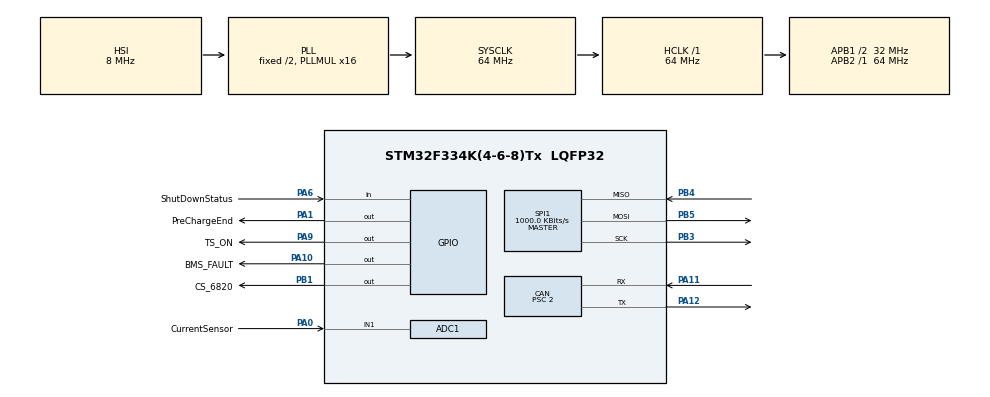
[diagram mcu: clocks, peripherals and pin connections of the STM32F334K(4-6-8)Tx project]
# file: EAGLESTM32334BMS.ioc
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ADC1.Channel-0\#ChannelRegularConversion=ADC_CHANNEL_1
ADC1.ClockPrescaler=ADC_CLOCK_SYNC_PCLK_DIV4
ADC1.ContinuousConvMode=ENABLE
ADC1.DMAContinuousRequests=ENABLE
ADC1.EnableInjectedConversion=DISABLE
ADC1.NbrOfConversion=1
ADC1.NbrOfConversionFlag=1
ADC1.Offset-0\#ChannelRegularConversion=0
ADC1.OffsetNumber-0\#ChannelRegularConversion=ADC_OFFSET_NONE
ADC1.Rank-0\#ChannelRegularConversion=1
ADC1.SamplingTime-0\#ChannelRegularConversion=ADC_SAMPLETIME_601CYCLES_5
ADC1.SubFamily=STM32F334x8
ADC1.master=1
CAN.AWUM=DISABLE
CAN.BS1=CAN_BS1_13TQ
CAN.BS2=CAN_BS2_2TQ
CAN.CalculateBaudRate=1000000
CAN.CalculateTimeQuantum=62.5
CAN.Prescaler=2
CAN.RFLM=DISABLE
CAN.SJW=CAN_SJW_1TQ
CAN.TXFP=DISABLE
Dma.ADC1.0.Direction=DMA_PERIPH_TO_MEMORY
Dma.ADC1.0.Instance=DMA1_Channel1
Dma.ADC1.0.MemDataAlignment=DMA_MDATAALIGN_HALFWORD
Dma.ADC1.0.MemInc=DMA_MINC_ENABLE
Dma.ADC1.0.Mode=DMA_CIRCULAR
Dma.ADC1.0.PeriphDataAlignment=DMA_PDATAALIGN_WORD
Dma.ADC1.0.PeriphInc=DMA_PINC_DISABLE
Dma.ADC1.0.Priority=DMA_PRIORITY_HIGH
Dma.Request0=ADC1
Mcu.Family=STM32F3
Mcu.Name=STM32F334K(4-6-8)Tx
Mcu.Package=LQFP32
NVIC.CAN_RX0_IRQn=true\:0\:0\:false\:false\:true\:true\:true
NVIC.CAN_RX1_IRQn=true\:0\:0\:false\:false\:true\:true\:true
NVIC.CAN_SCE_IRQn=true\:0\:0\:false\:false\:true\:true\:true
NVIC.DMA1_Channel1_IRQn=true\:0\:0\:false\:false\:true\:false\:true
NVIC.PriorityGroup=NVIC_PRIORITYGROUP_4
PA0.GPIO_Label=CurrentSensor
PA0.Mode=IN1-Single-Ended
PA0.Signal=ADC1_IN1
PA1.GPIO_Label=PreChargeEnd
PA1.Signal=GPIO_Output
PA10.GPIO_Label=BMS_FAULT
PA10.Signal=GPIO_Output
PA11.GPIO_PuPd=GPIO_PULLUP
PA11.Mode=CAN_Activate
PA11.Signal=CAN_RX
PA12.GPIO_PuPd=GPIO_PULLUP
PA12.Mode=CAN_Activate
PA12.Signal=CAN_TX
PA13.Mode=Serial_Wire
PA13.Signal=SYS_JTMS-SWDIO
PA14.Mode=Serial_Wire
PA14.Signal=SYS_JTCK-SWCLK
PA6.GPIO_Label=ShutDownStatus
PA6.GPIO_PuPd=GPIO_PULLUP
PA6.Signal=GPIO_Input
PA9.GPIO_Label=TS_ON
PA9.Signal=GPIO_Output
PB1.GPIO_Label=CS_6820
PB1.PinState=GPIO_PIN_SET
PB1.Signal=GPIO_Output
PB3.Mode=Full_Duplex_Master
PB3.Signal=SPI1_SCK
PB4.Mode=Full_Duplex_Master
PB4.Signal=SPI1_MISO
PB5.Mode=Full_Duplex_Master
PB5.Signal=SPI1_MOSI
ProjectManager.HeapSize=0x200
ProjectManager.StackSize=0x400
ProjectManager.TargetToolchain=Makefile
RCC.AHBFreq_Value=64000000
RCC.APB1CLKDivider=RCC_HCLK_DIV2
RCC.APB1Freq_Value=32000000
RCC.APB1TimFreq_Value=64000000
RCC.APB2Freq_Value=64000000
RCC.APB2TimFreq_Value=64000000
RCC.CortexFreq_Value=64000000
RCC.HCLKFreq_Value=64000000
RCC.HSE_VALUE=8000000
RCC.HSI_VALUE=8000000
RCC.PLLMUL=RCC_PLL_MUL16
RCC.SYSCLKFreq_VALUE=64000000
RCC.SYSCLKSourceVirtual=RCC_SYSCLKSOURCE_PLLCLK
SPI1.BaudRatePrescaler=SPI_BAUDRATEPRESCALER_64
SPI1.CalculateBaudRate=1000.0 KBits/s
SPI1.DataSize=SPI_DATASIZE_8BIT
SPI1.Direction=SPI_DIRECTION_2LINES
SPI1.Mode=SPI_MODE_MASTER
SPI1.VirtualType=VM_MASTER
TIM6.Prescaler=32000
TIM6.TIM_MasterOutputTrigger=TIM_TRGO_RESET
VP_TIM6_VS_ClockSourceINT.Mode=Enable_Timer
board=EAGLESTM32334BMS

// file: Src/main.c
/* USER CODE BEGIN Header */
/**
 * @file		main.c
 *
 * @author	Gregor
 * @author	Matteo Bonora [matteo.bonora@studenti.unitn.it]
 */
/* USER CODE END Header */
#include "main.h"

/* USER CODE BEGIN Includes */
#include "can.h"
#include "chimera_config.h"
#include "error.h"
/* USER CODE END Includes */

/* USER CODE BEGIN PD */
#define READ_INTERVAL_UNIT  20U
#define TEMPS_READ_INTERVAL 30U
#define CONV_TIME           6U
//#define VOLTS_READ_INTERVAL 1

/* USER CODE END PD */

ADC_HandleTypeDef hadc1;
DMA_HandleTypeDef hdma_adc1;

CAN_HandleTypeDef hcan;

SPI_HandleTypeDef hspi1;

TIM_HandleTypeDef htim6;

/* USER CODE BEGIN PV */
state_func_t *const state_table[BMS_NUM_STATES] = {do_state_init, do_state_idle,   do_state_precharge,
												   do_state_on,	  do_state_charge, do_state_halt};

transition_func_t *const transition_table[BMS_NUM_STATES][BMS_NUM_STATES] = {
	{NULL, to_idle, to_precharge, NULL, NULL, to_halt},	 // from init
	{NULL, NULL, to_precharge, NULL, NULL, to_halt},	 // from idle
	{NULL, to_idle, NULL, to_on, to_charge, to_halt},	 // from precharge
	{NULL, to_idle, NULL, NULL, NULL, to_halt},			 // from on
	{NULL, to_idle, NULL, NULL, NULL, to_halt},			 // from charge
	{NULL, NULL, NULL, NULL, NULL, to_halt}};			 // from halt

BMS_STATE_T state = BMS_INIT;
state_global_data_t data;

ADC_HandleTypeDef hadc1;
DMA_HandleTypeDef hdma_adc1;
CAN_HandleTypeDef hcan;
SPI_HandleTypeDef hspi1;
TIM_HandleTypeDef htim6;

uint32_t timer_precharge = 0;
uint32_t timer_reads = 100;
uint8_t timer_counter = 0, conv_started = 0;
/*
uint32_t timer_volts = 1000;
uint32_t timer_temps = 1000;
*/
/* USER CODE END PV */

void SystemClock_Config(void);
static void MX_GPIO_Init(void);
static void MX_DMA_Init(void);
static void MX_SPI1_Init(void);
static void MX_ADC1_Init(void);
static void MX_CAN_Init(void);
static void MX_TIM6_Init(void);

/* USER CODE BEGIN 0 */

BMS_STATE_T do_state_init(state_global_data_t *data) {
	error_init(&data->can_error);

	data->error = ERROR_OK;

	data->bms.pin_fault.gpio = BMS_FAULT_GPIO_Port;
	data->bms.pin_ts_on.gpio = TS_ON_GPIO_Port;
	data->bms.pin_chip_select.gpio = CS_6820_GPIO_Port;
	data->bms.pin_precharge_end.gpio = PreChargeEnd_GPIO_Port;

	data->bms.pin_fault.id = BMS_FAULT_Pin;
	data->bms.pin_ts_on.id = TS_ON_Pin;
	data->bms.pin_chip_select.id = CS_6820_Pin;
	data->bms.pin_precharge_end.id = PreChargeEnd_Pin;

	bms_write_pin(&(data->bms.pin_fault), GPIO_PIN_SET);
	bms_write_pin(&(data->bms.pin_ts_on), GPIO_PIN_RESET);
	bms_write_pin(&(data->bms.pin_chip_select), GPIO_PIN_SET);
	bms_write_pin(&(data->bms.pin_precharge_end), GPIO_PIN_RESET);

	pack_init(&hadc1, &(data->pack));

	HAL_Delay(1000);
	pack_update_current(&(data->pack.current), &(data->error));
	pack_zero_current(&(data->pack));

#if CHARGING > 0
	HAL_Delay(3000);
	data->bms.precharge_bypass = true;
	return BMS_PRECHARGE;
#endif
	return BMS_IDLE;
}

void to_idle(state_global_data_t *data) {
	bms_set_ts_off(&data->bms);
	can_send(&hcan, CAN_ID_BMS, CAN_MSG_TS_OFF, 8);
	HAL_CAN_ConfigFilter(&hcan, &filter_ecu);
}

BMS_STATE_T do_state_idle(state_global_data_t *data) {
	data->ts_off = false;
	if (data->ts_on) {
		return BMS_PRECHARGE;
	}
	return BMS_IDLE;
}

void to_precharge(state_global_data_t *data) {
	// Precharge

	pack_zero_current(&data->pack);

	// data->bms.precharge_bypass = true;
	bms_precharge_start(&data->bms);
	data->pack.bus_voltage = 0;
	timer_precharge = HAL_GetTick();
	HAL_CAN_ConfigFilter(&hcan, &filter_inv);
}

BMS_STATE_T do_state_precharge(state_global_data_t *data) {
	data->ts_on = false;
	if (data->ts_off) {
		data->ts_off = false;
		return BMS_IDLE;
	}
	switch (bms_precharge_check(&(data)->bms)) {
		case PRECHARGE_SUCCESS:
			// Used when bypassing precharge

			return BMS_CHARGE;
			break;

		case PRECHARGE_FAILURE:
			// Precharge timed out

			can_send_warning(&hcan, WARN_PRECHARGE_FAIL, 0);

			return BMS_IDLE;
			break;

		case PRECHARGE_WAITING:
			// If precharge is still running, send the bus voltage request

			if (data->pack.bus_voltage >= data->pack.total_voltage / 10000.0 * .70) {
				// bms_precharge_end(&data->bms);
				return BMS_ON;
			}

			if (HAL_GetTick() - timer_precharge >= 20) {
				timer_precharge = HAL_GetTick();

				// uint16_t bus_voltage = 0;
				// si8900_read_channel(&huart1, SI8900_AIN0, &bus_voltage);

				can_send(&hcan, CAN_ID_OUT_INVERTER_L, CAN_MSG_BUS_VOLTAGE, 8);
			}
			break;
	}

	return BMS_PRECHARGE;
}

void to_charge(state_global_data_t *data) {
	bms_precharge_end(&data->bms);
	can_send(&hcan, CAN_ID_BMS, CAN_MSG_TS_ON, 8);
	HAL_CAN_ConfigFilter(&hcan, &filter_ecu);
}

BMS_STATE_T do_state_charge(state_global_data_t *data) {
	data->ts_on = false;
	if (data->ts_off) {
		data->ts_off = false;
		return BMS_IDLE;
	}

	return BMS_CHARGE;
}

void to_on(state_global_data_t *data) {
	bms_precharge_end(&data->bms);
	can_send(&hcan, CAN_ID_BMS, CAN_MSG_TS_ON, 8);
	HAL_CAN_ConfigFilter(&hcan, &filter_ecu);
}

BMS_STATE_T do_state_on(state_global_data_t *data) {
	data->ts_on = false;
	if (data->ts_off) {
		data->ts_off = false;
		return BMS_IDLE;
	}

	return BMS_ON;
}

void to_halt(state_global_data_t *data) {
	bms_set_ts_off(&data->bms);
	bms_set_fault(&data->bms);

	can_send_error(&hcan, data->error, data->error_index, &data->pack);
	HAL_CAN_ConfigFilter(&hcan, &filter_ecu);
}

BMS_STATE_T do_state_halt(state_global_data_t *data) {
	data->ts_off = false;
	data->ts_on = false;
	if (data->error == ERROR_OK) {
		return BMS_IDLE;
	}
	return BMS_HALT;
}

BMS_STATE_T run_state(BMS_STATE_T state, state_global_data_t *data) {
	BMS_STATE_T new_state = state_table[state](data);

	if (data->error != ERROR_OK) {
		new_state = BMS_HALT;
	}

	transition_func_t *transition = transition_table[state][new_state];

	if (transition) {
		transition(data);
	}

	return new_state;
}

void check_timers(state_global_data_t *data) {
	// Read and send volts or temperatures (the last one every TEMPS_READ_INTERVAL times)

  if(!conv_started && (HAL_GetTick() - timer_reads >= READ_INTERVAL_UNIT - CONV_TIME)) { //start convertion 5ms before reading
    conv_started = 1;
    if(timer_counter == TEMPS_READ_INTERVAL-1) {
      pack_init_temperature_conversion(&hspi1);
    } else {
      _ltc6804_adcv(&hspi1, 0);
    }
  }
	if (conv_started && (HAL_GetTick() - timer_reads >= READ_INTERVAL_UNIT)) {
    conv_started = 0;
    if(timer_counter == TEMPS_READ_INTERVAL-1) {
      read_temps(data);
    } else {
      read_volts(data);
    }
    timer_reads = HAL_GetTick();
    timer_counter = (timer_counter+1) % TEMPS_READ_INTERVAL;
    ER_CHK(data->error);
  }

End:;
}

/**
 * @brief Runs all the checks mandated by the rules
 * @details It runs voltage and current measurements
 */
void read_volts(state_global_data_t *data) {
	// Voltages
	WARNING_T warning = WARN_OK;

	data->error_index = pack_update_voltages(&hspi1, &data->pack, &warning, &data->error);
	can_send_pack_voltage(&hcan, data->pack);
	ER_CHK(data->error);

	if (warning != WARN_OK) {
		can_send_warning(&hcan, warning, 0);
	}

	// Current
	pack_update_current(&data->pack.current, &data->error);
	can_send_current(&hcan, data->pack.current.value, data->pack.total_voltage);
	ER_CHK(data->error);

End:;
}

void read_temps(state_global_data_t *data) {
	// Temperatures
	data->error_index = pack_update_temperatures(&hspi1, &data->pack, &data->error);
	ER_CHK(data->error);

	can_send_pack_temperature(&hcan, data->pack);

	//// Check for not healthy cells
	// uint8_t volts[PACK_MODULE_COUNT];
	// uint8_t num_cells = pack_check_voltage_drops(&data->pack, volts);

	// uint8_t i;
	// for (i = 0; i < num_cells; i++) {
	//	can_send_warning(&hcan, WARN_CELL_DROPPING, volts[i]);
	//}

End:;
}

void HAL_CAN_RxFifo0MsgPendingCallback(CAN_HandleTypeDef *hcan) {
	uint8_t rx_data[8] = {'\0'};
    CAN_RxHeaderTypeDef rx_header;

    if (HAL_CAN_GetRxMessage(hcan, CAN_RX_FIFO0, &rx_header, rx_data) != HAL_OK) {
        return;
    }

	if (rx_header.StdId == CAN_ID_IN_INVERTER_L) {
		if (rx_data[0] == CAN_IN_BUS_VOLTAGE) {
			data.pack.bus_voltage = rx_data[2] << 8;
			data.pack.bus_voltage += rx_data[1];
			data.pack.bus_voltage /= 31.99;
		}
	} else if (rx_header.StdId == CAN_ID_ECU) {
		if (rx_data[0] == CAN_IN_TS_ON) {
			data.ts_on = true;

			if (rx_data[1] == 0x01) {
				// Charge command
				data.bms.precharge_bypass = true;
			} else {
				data.bms.precharge_bypass = false;
			}
		} else if (rx_data[0] == CAN_IN_TS_OFF) {
			data.ts_off = true;
		}
	}
}
/* USER CODE END 0 */

int main(void)
{

  /* MCU Configuration--------------------------------------------------------*/

  /* Reset of all peripherals, Initializes the Flash interface and the Systick. */
  HAL_Init();

  /* Configure the system clock */
  SystemClock_Config();

  /* Initialize all configured peripherals */
  MX_GPIO_Init();
  MX_DMA_Init();
  MX_SPI1_Init();
  MX_ADC1_Init();
  MX_CAN_Init();
  MX_TIM6_Init();
  /* USER CODE BEGIN 2 */

	// if (HAL_CAN_Receive_IT(&hcan, CAN_FIFO0) != HAL_OK) {
	//	Error_Handler();
	//}
  /* USER CODE END 2 */

  /* Infinite loop */
	while (1) {

    /* USER CODE BEGIN 3 */
		state = run_state(state, &data);

		if (can_check_error(&hcan)) {
			error_set(ERROR_CAN, &data.can_error, HAL_GetTick());
		} else {
			error_unset(ERROR_CAN, &data.can_error);
		}

		data.error = error_check_fatal(&data.can_error, HAL_GetTick());
		ER_CHK(data.error);

		check_timers(&data);
		ER_CHK(data.error);

		data.error_index = pack_check_errors(&data.pack, &data.error);
		ER_CHK(data.error);

	End:;
	}
	return 0;

  /* USER CODE END 3 */
}

void SystemClock_Config(void)
{
  RCC_OscInitTypeDef RCC_OscInitStruct = {0};
  RCC_ClkInitTypeDef RCC_ClkInitStruct = {0};

  /** Initializes the RCC Oscillators according to the specified parameters
  * in the RCC_OscInitTypeDef structure.
  */
  RCC_OscInitStruct.OscillatorType = RCC_OSCILLATORTYPE_HSI;
  RCC_OscInitStruct.HSIState = RCC_HSI_ON;
  RCC_OscInitStruct.HSICalibrationValue = RCC_HSICALIBRATION_DEFAULT;
  RCC_OscInitStruct.PLL.PLLState = RCC_PLL_ON;
  RCC_OscInitStruct.PLL.PLLSource = RCC_PLLSOURCE_HSI;
  RCC_OscInitStruct.PLL.PLLMUL = RCC_PLL_MUL16;
  if (HAL_RCC_OscConfig(&RCC_OscInitStruct) != HAL_OK)
  {
    Error_Handler();
  }
  /** Initializes the CPU, AHB and APB buses clocks
  */
  RCC_ClkInitStruct.ClockType = RCC_CLOCKTYPE_HCLK|RCC_CLOCKTYPE_SYSCLK
                              |RCC_CLOCKTYPE_PCLK1|RCC_CLOCKTYPE_PCLK2;
  RCC_ClkInitStruct.SYSCLKSource = RCC_SYSCLKSOURCE_PLLCLK;
  RCC_ClkInitStruct.AHBCLKDivider = RCC_SYSCLK_DIV1;
  RCC_ClkInitStruct.APB1CLKDivider = RCC_HCLK_DIV2;
  RCC_ClkInitStruct.APB2CLKDivider = RCC_HCLK_DIV1;

  if (HAL_RCC_ClockConfig(&RCC_ClkInitStruct, FLASH_LATENCY_2) != HAL_OK)
  {
    Error_Handler();
  }
}

static void MX_ADC1_Init(void)
{

  ADC_MultiModeTypeDef multimode = {0};
  ADC_ChannelConfTypeDef sConfig = {0};

  /** Common config
  */
  hadc1.Instance = ADC1;
  hadc1.Init.ClockPrescaler = ADC_CLOCK_SYNC_PCLK_DIV4;
  hadc1.Init.Resolution = ADC_RESOLUTION_12B;
  hadc1.Init.ScanConvMode = ADC_SCAN_DISABLE;
  hadc1.Init.ContinuousConvMode = ENABLE;
  hadc1.Init.DiscontinuousConvMode = DISABLE;
  hadc1.Init.ExternalTrigConvEdge = ADC_EXTERNALTRIGCONVEDGE_NONE;
  hadc1.Init.ExternalTrigConv = ADC_SOFTWARE_START;
  hadc1.Init.DataAlign = ADC_DATAALIGN_RIGHT;
  hadc1.Init.NbrOfConversion = 1;
  hadc1.Init.DMAContinuousRequests = ENABLE;
  hadc1.Init.EOCSelection = ADC_EOC_SINGLE_CONV;
  hadc1.Init.LowPowerAutoWait = DISABLE;
  hadc1.Init.Overrun = ADC_OVR_DATA_OVERWRITTEN;
  if (HAL_ADC_Init(&hadc1) != HAL_OK)
  {
    Error_Handler();
  }
  /** Configure the ADC multi-mode
  */
  multimode.Mode = ADC_MODE_INDEPENDENT;
  if (HAL_ADCEx_MultiModeConfigChannel(&hadc1, &multimode) != HAL_OK)
  {
    Error_Handler();
  }
  /** Configure Regular Channel
  */
  sConfig.Channel = ADC_CHANNEL_1;
  sConfig.Rank = ADC_REGULAR_RANK_1;
  sConfig.SingleDiff = ADC_SINGLE_ENDED;
  sConfig.SamplingTime = ADC_SAMPLETIME_601CYCLES_5;
  sConfig.OffsetNumber = ADC_OFFSET_NONE;
  sConfig.Offset = 0;
  if (HAL_ADC_ConfigChannel(&hadc1, &sConfig) != HAL_OK)
  {
    Error_Handler();
  }

}

static void MX_CAN_Init(void)
{

  hcan.Instance = CAN;
  hcan.Init.Prescaler = 2;
  hcan.Init.Mode = CAN_MODE_NORMAL;
  hcan.Init.SyncJumpWidth = CAN_SJW_1TQ;
  hcan.Init.TimeSeg1 = CAN_BS1_13TQ;
  hcan.Init.TimeSeg2 = CAN_BS2_2TQ;
  hcan.Init.TimeTriggeredMode = DISABLE;
  hcan.Init.AutoBusOff = DISABLE;
  hcan.Init.AutoWakeUp = DISABLE;
  hcan.Init.AutoRetransmission = DISABLE;
  hcan.Init.ReceiveFifoLocked = DISABLE;
  hcan.Init.TransmitFifoPriority = DISABLE;
  if (HAL_CAN_Init(&hcan) != HAL_OK)
  {
    Error_Handler();
  }
  /* USER CODE BEGIN CAN_Init 2 */

	can_init(&hcan);
  /* USER CODE END CAN_Init 2 */

}

static void MX_SPI1_Init(void)
{

  /* SPI1 parameter configuration*/
  hspi1.Instance = SPI1;
  hspi1.Init.Mode = SPI_MODE_MASTER;
  hspi1.Init.Direction = SPI_DIRECTION_2LINES;
  hspi1.Init.DataSize = SPI_DATASIZE_8BIT;
  hspi1.Init.CLKPolarity = SPI_POLARITY_LOW;
  hspi1.Init.CLKPhase = SPI_PHASE_1EDGE;
  hspi1.Init.NSS = SPI_NSS_SOFT;
  hspi1.Init.BaudRatePrescaler = SPI_BAUDRATEPRESCALER_64;
  hspi1.Init.FirstBit = SPI_FIRSTBIT_MSB;
  hspi1.Init.TIMode = SPI_TIMODE_DISABLE;
  hspi1.Init.CRCCalculation = SPI_CRCCALCULATION_DISABLE;
  hspi1.Init.CRCPolynomial = 7;
  hspi1.Init.CRCLength = SPI_CRC_LENGTH_DATASIZE;
  hspi1.Init.NSSPMode = SPI_NSS_PULSE_ENABLE;
  if (HAL_SPI_Init(&hspi1) != HAL_OK)
  {
    Error_Handler();
  }

}

static void MX_TIM6_Init(void)
{

  TIM_MasterConfigTypeDef sMasterConfig = {0};

  htim6.Instance = TIM6;
  htim6.Init.Prescaler = 32000;
  htim6.Init.CounterMode = TIM_COUNTERMODE_UP;
  htim6.Init.Period = 65535;
  htim6.Init.AutoReloadPreload = TIM_AUTORELOAD_PRELOAD_DISABLE;
  if (HAL_TIM_Base_Init(&htim6) != HAL_OK)
  {
    Error_Handler();
  }
  sMasterConfig.MasterOutputTrigger = TIM_TRGO_RESET;
  sMasterConfig.MasterSlaveMode = TIM_MASTERSLAVEMODE_DISABLE;
  if (HAL_TIMEx_MasterConfigSynchronization(&htim6, &sMasterConfig) != HAL_OK)
  {
    Error_Handler();
  }

}

static void MX_DMA_Init(void)
{

  /* DMA controller clock enable */
  __HAL_RCC_DMA1_CLK_ENABLE();

  /* DMA interrupt init */
  /* DMA1_Channel1_IRQn interrupt configuration */
  HAL_NVIC_SetPriority(DMA1_Channel1_IRQn, 0, 0);
  HAL_NVIC_EnableIRQ(DMA1_Channel1_IRQn);

}

static void MX_GPIO_Init(void)
{
  GPIO_InitTypeDef GPIO_InitStruct = {0};

  /* GPIO Ports Clock Enable */
  __HAL_RCC_GPIOA_CLK_ENABLE();
  __HAL_RCC_GPIOB_CLK_ENABLE();

  /*Configure GPIO pin Output Level */
  HAL_GPIO_WritePin(GPIOA, PreChargeEnd_Pin|TS_ON_Pin|BMS_FAULT_Pin, GPIO_PIN_RESET);

  /*Configure GPIO pin Output Level */
  HAL_GPIO_WritePin(CS_6820_GPIO_Port, CS_6820_Pin, GPIO_PIN_SET);

  /*Configure GPIO pins : PreChargeEnd_Pin TS_ON_Pin BMS_FAULT_Pin */
  GPIO_InitStruct.Pin = PreChargeEnd_Pin|TS_ON_Pin|BMS_FAULT_Pin;
  GPIO_InitStruct.Mode = GPIO_MODE_OUTPUT_PP;
  GPIO_InitStruct.Pull = GPIO_NOPULL;
  GPIO_InitStruct.Speed = GPIO_SPEED_FREQ_LOW;
  HAL_GPIO_Init(GPIOA, &GPIO_InitStruct);

  /*Configure GPIO pin : ShutDownStatus_Pin */
  GPIO_InitStruct.Pin = ShutDownStatus_Pin;
  GPIO_InitStruct.Mode = GPIO_MODE_INPUT;
  GPIO_InitStruct.Pull = GPIO_PULLUP;
  HAL_GPIO_Init(ShutDownStatus_GPIO_Port, &GPIO_InitStruct);

  /*Configure GPIO pin : CS_6820_Pin */
  GPIO_InitStruct.Pin = CS_6820_Pin;
  GPIO_InitStruct.Mode = GPIO_MODE_OUTPUT_PP;
  GPIO_InitStruct.Pull = GPIO_NOPULL;
  GPIO_InitStruct.Speed = GPIO_SPEED_FREQ_LOW;
  HAL_GPIO_Init(CS_6820_GPIO_Port, &GPIO_InitStruct);

}

void Error_Handler(void)
{
  /* USER CODE BEGIN Error_Handler_Debug */
	bms_set_ts_off(&data.bms);
	can_send(&hcan, CAN_ID_BMS, CAN_MSG_TS_OFF, 8);
	can_send_error(&hcan, ERROR_CAN, 0, &data.pack);

	HAL_NVIC_SystemReset();
	/* User can add his own implementation to report the HAL error
	 * return state
	 */
	while (1) {
	}
  /* USER CODE END Error_Handler_Debug */
}

#ifdef  USE_FULL_ASSERT
/**
  * @brief  Reports the name of the source file and the source line number
  *         where the assert_param error has occurred.
  * @param  file: pointer to the source file name
  * @param  line: assert_param error line source number
  * @retval None
  */
void assert_failed(uint8_t *file, uint32_t line)
{
  /* USER CODE BEGIN 6 */
	/* User can add his own implementation to report the file name and
	   line number, tex: printf("Wrong parameters value: file %s on line
	   %d\r\n", file, line) */
  /* USER CODE END 6 */
}
#endif /* USE_FULL_ASSERT */
